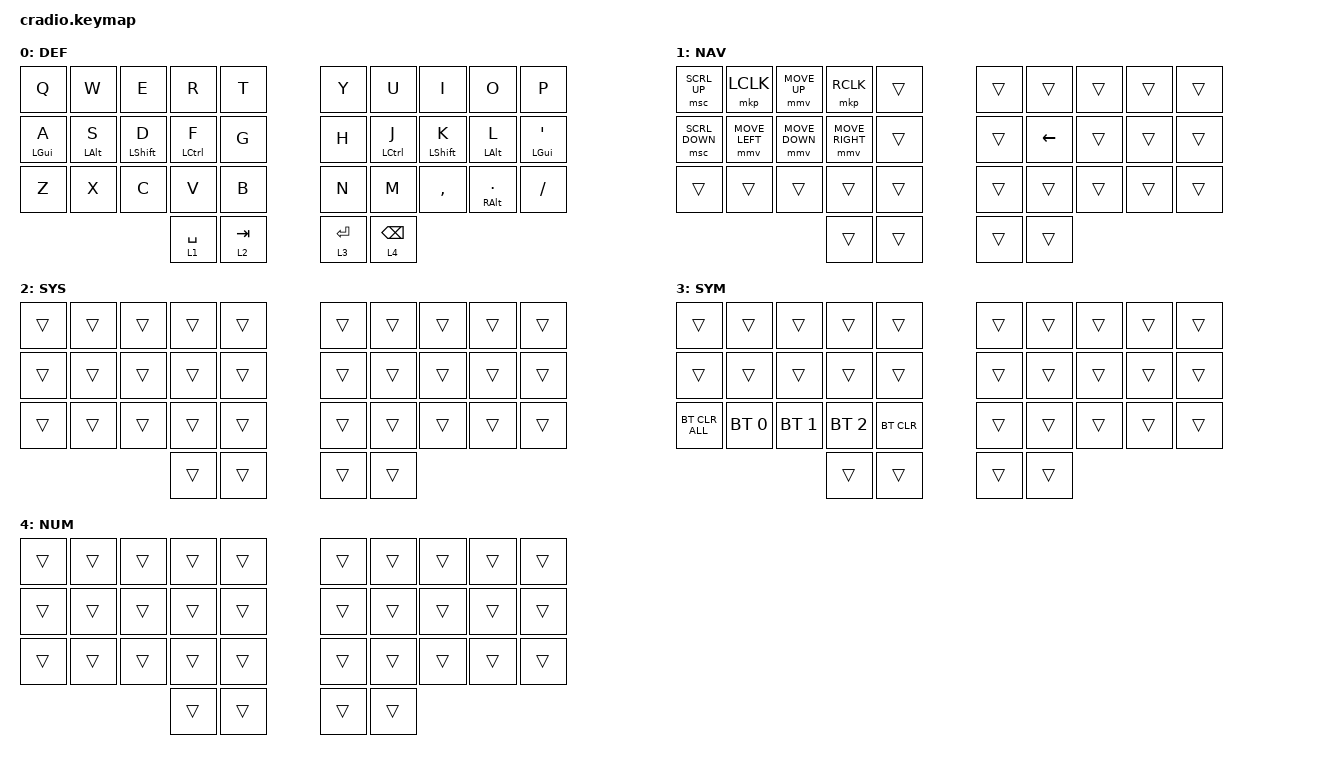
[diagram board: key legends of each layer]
#define ZMK_POINTING_DEFAULT_MOVE_VAL 1500  // default: 600
#define ZMK_POINTING_DEFAULT_SCRL_VAL 20    // default: 10

#include <behaviors.dtsi>
#include <dt-bindings/zmk/bt.h>
#include <dt-bindings/zmk/keys.h>
#include <dt-bindings/zmk/pointing.h>

/ {
    behaviors {
        asl: alpha_shift_l {
            compatible = "zmk,behavior-hold-tap";
            label = "ASL";
            bindings = <&kp>, <&kp>;

            #binding-cells = <2>;
            tapping-term-ms = <200>;
            quick-tap-ms = <150>;
            require-prior-idle-ms = <170>;
            flavor = "balanced";
            hold-trigger-key-positions = <32 33>;
            hold-trigger-on-release;
        };

        asr: alpha_shift_r {
            compatible = "zmk,behavior-hold-tap";
            label = "ASR";
            bindings = <&kp>, <&kp>;

            #binding-cells = <2>;
            hold-trigger-key-positions = <30 31>;
            tapping-term-ms = <200>;
            quick-tap-ms = <150>;
            require-prior-idle-ms = <170>;
            flavor = "balanced";
            hold-trigger-on-release;
        };

        aml: alpha_mods_l {
            compatible = "zmk,behavior-hold-tap";
            label = "AML";
            bindings = <&kp>, <&kp>;

            #binding-cells = <2>;
            tapping-term-ms = <200>;
            quick-tap-ms = <150>;
            require-prior-idle-ms = <170>;
            flavor = "balanced";
            hold-trigger-on-release;
            hold-trigger-key-positions = <32 33>;
        };

        amr: alpha_mods_r {
            compatible = "zmk,behavior-hold-tap";
            label = "AMR";
            bindings = <&kp>, <&kp>;

            #binding-cells = <2>;
            tapping-term-ms = <200>;
            quick-tap-ms = <150>;
            require-prior-idle-ms = <170>;
            flavor = "balanced";
            hold-trigger-on-release;
            hold-trigger-key-positions = <30 31>;
        };

        ht: ht {
            compatible = "zmk,behavior-hold-tap";
            label = "HT";
            bindings = <&kp>, <&kp>;

            #binding-cells = <2>;
            tapping-term-ms = <200>;
        };
    };

    combos {
        compatible = "zmk,combos";

        esc {
            bindings = <&kp ESCAPE>;
            key-positions = <0 1>;
            layers = <0>;
            timeout-ms = <40>;
            require-prior-idle-ms = <150>;
        };

        del {
            bindings = <&kp DEL>;
            key-positions = <8 9>;
            timeout-ms = <40>;
            require-prior-idle-ms = <150>;
            layers = <0>;
        };

        star {
            bindings = <&kp STAR>;
            key-positions = <2 3>;
            timeout-ms = <40>;
            require-prior-idle-ms = <150>;
            layers = <0>;
        };

        slash {
            bindings = <&kp SLASH>;
            key-positions = <12 13>;
            timeout-ms = <40>;
            require-prior-idle-ms = <150>;
            layers = <0>;
        };
    };

    keymap {
        compatible = "zmk,keymap";

        DEF {
            bindings = <
&kp Q            &kp W        &kp E         &kp R         &kp T        &kp Y      &kp U            &kp I         &kp O            &kp P
&aml LEFT_GUI A  &aml LALT S  &asl LSHFT D  &aml LCTRL F  &kp G        &kp H      &amr LCTRL J     &asr LSHFT K  &amr LALT L      &amr LEFT_GUI SQT
&kp Z            &kp X        &kp C         &kp V         &kp B        &kp N      &kp M            &kp COMMA     &ht RALT PERIOD  &kp SLASH
                                            &lt 1 SPACE   &lt 2 TAB    &lt 3 RET  &lt 4 BACKSPACE
            >;
        };

        NAV {
            bindings = <
&msc SCRL_UP    &mkp LCLK       &mmv MOVE_UP    &mkp RCLK        &trans    &trans  &trans    &trans  &trans  &trans
&msc SCRL_DOWN  &mmv MOVE_LEFT  &mmv MOVE_DOWN  &mmv MOVE_RIGHT  &trans    &trans  &kp LEFT  &trans  &trans  &trans
&trans          &trans          &trans          &trans           &trans    &trans  &trans    &trans  &trans  &trans
                                                &trans           &trans    &trans  &trans
            >;
        };

        SYS {
            bindings = <
&trans  &trans  &trans  &trans  &trans    &trans  &trans  &trans  &trans  &trans
&trans  &trans  &trans  &trans  &trans    &trans  &trans  &trans  &trans  &trans
&trans  &trans  &trans  &trans  &trans    &trans  &trans  &trans  &trans  &trans
                        &trans  &trans    &trans  &trans
            >;
        };

        SYM {
            bindings = <
&trans          &trans        &trans        &trans        &trans            &trans  &trans  &trans  &trans  &trans
&trans          &trans        &trans        &trans        &trans            &trans  &trans  &trans  &trans  &trans
&bt BT_CLR_ALL  &bt BT_SEL 0  &bt BT_SEL 1  &bt BT_SEL 2  &bt BT_CLR        &trans  &trans  &trans  &trans  &trans
                                            &trans        &trans            &trans  &trans
            >;
        };

        NUM {
            bindings = <
&trans  &trans  &trans  &trans  &trans    &trans  &trans  &trans  &trans  &trans
&trans  &trans  &trans  &trans  &trans    &trans  &trans  &trans  &trans  &trans
&trans  &trans  &trans  &trans  &trans    &trans  &trans  &trans  &trans  &trans
                        &trans  &trans    &trans  &trans
            >;
        };
    };
};
